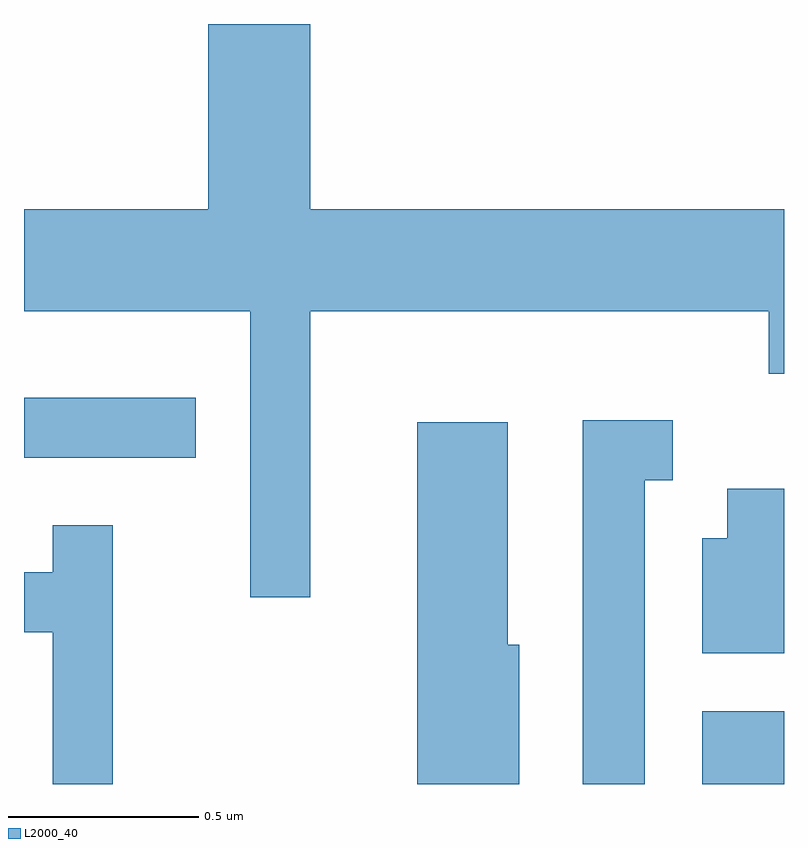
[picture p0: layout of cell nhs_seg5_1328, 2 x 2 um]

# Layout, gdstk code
import gdstk
lib = gdstk.Library(unit=1e-6, precision=1e-09)
def R(c, l, rs):  # rectangles x0, y0, x1, y1
    for r in rs: c.add(gdstk.rectangle(r[:2], r[2:], *l))
def P(c, l, *ps):  # polygons
    for p in ps: c.add(gdstk.Polygon(p, *l))
L2000_40 = (2000, 40)

nhs_seg5_1328 = lib.new_cell('nhs_seg5_1328')
R(nhs_seg5_1328, L2000_40, [(196.396,1491.072,196.611,1491.264), (194.611,1491.931,195.063,1492.089)])
P(nhs_seg5_1328, L2000_40, [(195.364,1492.316),(196.571,1492.316),(196.571,1492.151),(196.611,1492.151),(196.611,1492.584),(195.364,1492.584),(195.364,1493.072),(195.096,1493.072),(195.096,1492.584),(194.611,1492.584),(194.611,1492.316),(195.206,1492.316),(195.206,1491.563),(195.364,1491.563)],
  [(196.244,1491.871),(196.318,1491.871),(196.318,1492.029),(196.081,1492.029),(196.081,1491.072),(196.244,1491.072)],
  [(195.914,1491.439),(195.884,1491.439),(195.884,1492.024),(195.646,1492.024),(195.646,1491.072),(195.914,1491.072)],
  [(196.611,1491.849),(196.461,1491.849),(196.461,1491.719),(196.396,1491.719),(196.396,1491.416),(196.611,1491.416)],
  [(194.844,1491.753),(194.686,1491.753),(194.686,1491.629),(194.611,1491.629),(194.611,1491.471),(194.686,1491.471),(194.686,1491.072),(194.844,1491.072)])

lib.write_gds('nhs_seg5_1328.gds')
